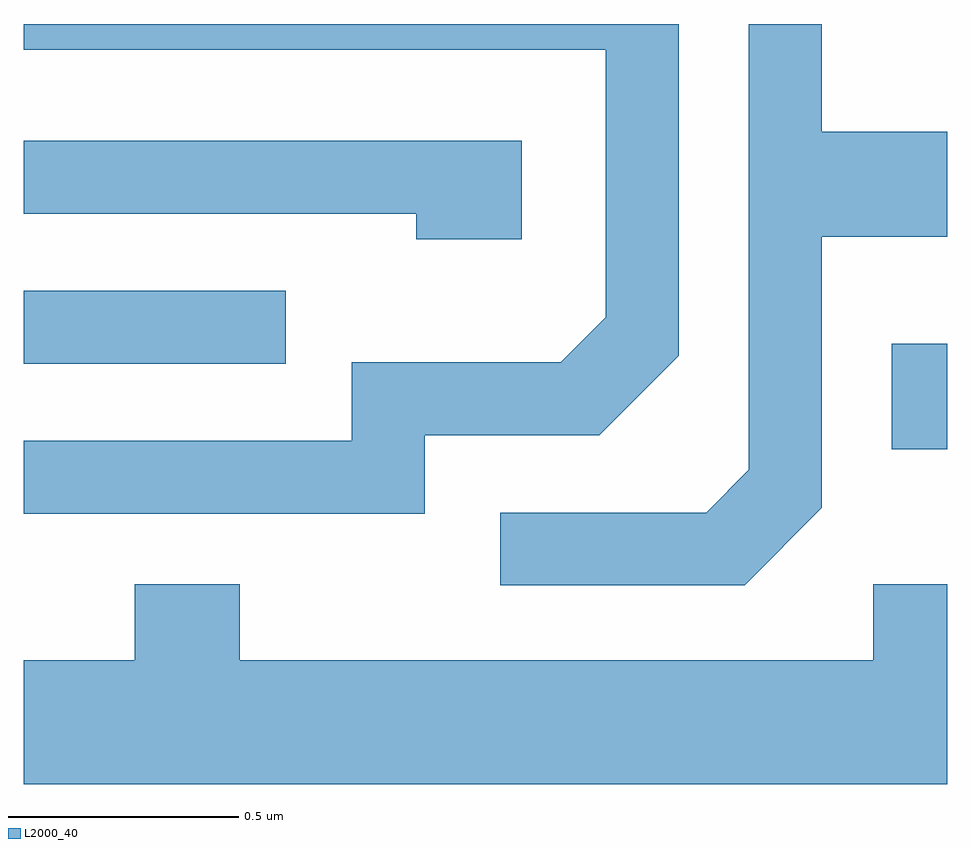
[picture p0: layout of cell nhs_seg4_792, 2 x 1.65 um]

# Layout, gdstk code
import gdstk
lib = gdstk.Library(unit=1e-6, precision=1e-09)
def R(c, l, rs):  # rectangles x0, y0, x1, y1
    for r in rs: c.add(gdstk.rectangle(r[:2], r[2:], *l))
def P(c, l, *ps):  # polygons
    for p in ps: c.add(gdstk.Polygon(p, *l))
L2000_40 = (2000, 40)

nhs_seg4_792 = lib.new_cell('nhs_seg4_792')
R(nhs_seg4_792, L2000_40, [(192.491,1362.061,192.611,1362.289), (190.611,1362.246,191.178,1362.404)])
P(nhs_seg4_792, L2000_40, [(192.339,1361.934),(192.339,1362.521),(192.611,1362.521),(192.611,1362.749),(192.339,1362.749),(192.339,1362.982),(192.181,1362.982),(192.181,1362.017),(192.089,1361.924),(191.643,1361.924),(191.643,1361.766),(192.172,1361.766)],
  [(191.479,1362.091),(191.857,1362.091),(192.029,1362.264),(192.029,1362.982),(190.611,1362.982),(190.611,1362.926),(191.871,1362.926),(191.871,1362.347),(191.774,1362.249),(191.321,1362.249),(191.321,1362.079),(190.611,1362.079),(190.611,1361.921),(191.479,1361.921)],
  [(191.689,1362.729),(190.611,1362.729),(190.611,1362.571),(191.461,1362.571),(191.461,1362.516),(191.689,1362.516)],
  [(192.611,1361.769),(192.451,1361.769),(192.451,1361.604),(191.079,1361.604),(191.079,1361.769),(190.851,1361.769),(190.851,1361.604),(190.611,1361.604),(190.611,1361.336),(192.611,1361.336)])

lib.write_gds('nhs_seg4_792.gds')
